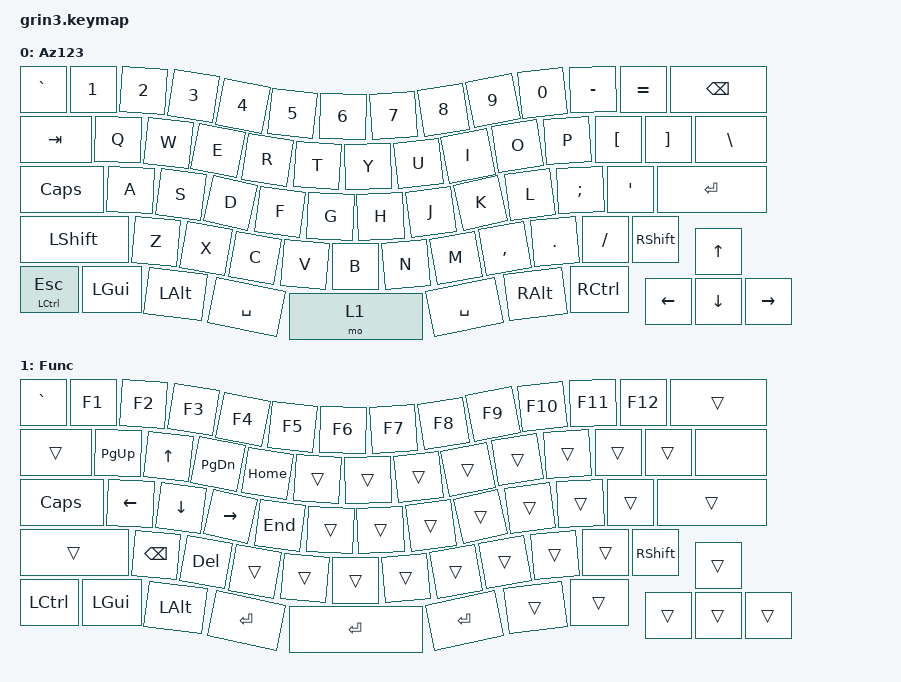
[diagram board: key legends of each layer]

#include <behaviors.dtsi>
#include <dt-bindings/zmk/keys.h>
#include <behaviors/rgbled_widget.dtsi>  // needed to use the behaviors

&mt {
   flavor = "tap-preferred";
   quick_tap_ms = <125>;
   tapping_term_ms = <250>;
};
 
/ {
    behaviors {
    };
 
   keymap {
       compatible = "zmk,keymap";
       default_layer {
           label = "Az123";
           bindings = <
&kp GRAVE &kp N1    &kp N2     &kp N3     &kp N4     &kp N5       &kp N6    &kp N7     &kp N8     &kp N9     &kp N0    &kp MINUS   &kp EQUAL &kp BKSP
&kp TAB   &kp Q     &kp W      &kp E      &kp R      &kp T        &kp Y     &kp U      &kp I      &kp O      &kp P     &kp LBKT    &kp RBKT  &kp BSLH
&kp CAPS  &kp A     &kp S      &kp D      &kp F      &kp G        &kp H     &kp J      &kp K      &kp L      &kp SEMI  &kp SQT         &kp ENTER
&kp LSHFT &kp Z     &kp X      &kp C      &kp V      &kp B        &kp N     &kp M      &kp COMMA  &kp DOT    &kp FSLH  &kp RSHFT       &kp UP
&mt LCTL ESC  &kp LGUI   &kp LALT      &kp SPACE       &mo 1       &kp SPACE   &kp RALT   &kp RCTL                               &kp LEFT &kp DOWN &kp RIGHT
>;
       };
 
       function_layer {
           label = "Func";
           bindings = <
&kp GRAVE &kp F1    &kp F2     &kp F3     &kp F4     &kp F5       &kp F6    &kp F7     &kp F8     &kp F9     &kp F10   &kp F11     &kp F12   &trans
&trans    &kp PG_UP &kp UP     &kp PG_DN  &kp HOME   &trans       &trans    &trans     &trans     &trans     &trans    &trans      &trans    &none
&kp CAPS  &kp LEFT  &kp DOWN   &kp RIGHT  &kp END    &trans       &trans    &trans     &trans     &trans     &trans    &trans          &trans
&trans    &kp BKSP  &kp DEL    &trans     &trans     &trans       &trans    &trans     &trans     &trans     &trans    &kp RSHFT       &trans
&kp LCTL   &kp LGUI   &kp LALT         &kp ENTER       &kp ENTER   &kp ENTER   &trans     &trans                                 &trans   &trans   &trans
>;
       };
   };
};

/ {
    aliases {
        led-red = &led0;
        led-green = &led1;
        led-blue = &led2;
    };

    leds {
        compatible = "gpio-leds";
        status = "okay";
        led0: led_0 {
            gpios = <&gpio0 26 GPIO_ACTIVE_LOW>;  // red LED, connected to P0.26
        };
        led1: led_1 {
            gpios = <&gpio0 30 GPIO_ACTIVE_LOW>;  // green LED, connected to P0.30
        };
        led2: led_2 {
            gpios = <&gpio0 6 GPIO_ACTIVE_LOW>;  // blue LED, connected to P0.06
        };
    };
};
